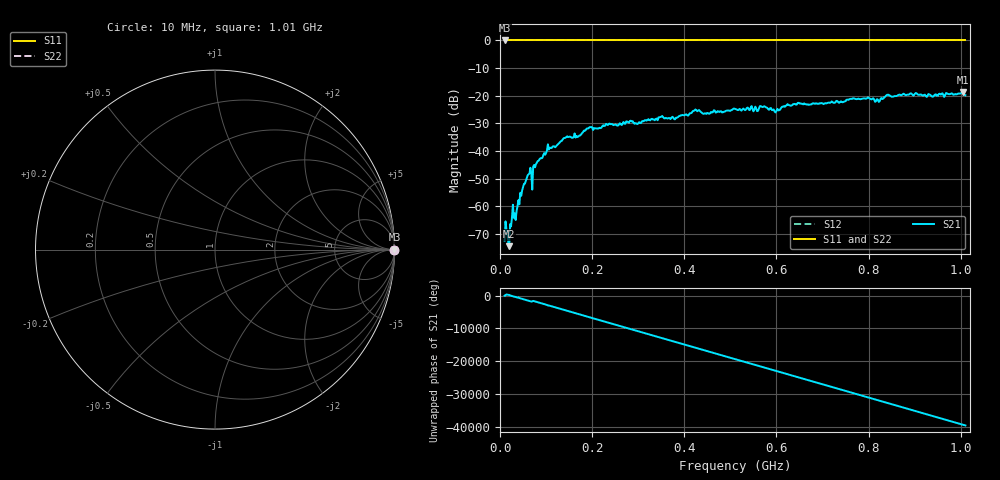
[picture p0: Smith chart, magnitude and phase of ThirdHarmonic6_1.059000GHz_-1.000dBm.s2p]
! 8/16/2025 9:27:58 AM
! C:\ANRITSUVNA\TEMP\TEMP.S2P
! CHANNEL.1
! TR.MEASUREMENT
! RAW.DATA
! RF.CORRECTION.OFF
! AVERAGING.OFF
! IF.BANDWIDTH: 5KHZ
! SWEEPTYPE:  FREQ.SWEEP(Linear)
! Reference Plane Port Info
! PORT:  PORT1  PORT2
! DISTANCE:  0  m  0  m
! TIME:  0  s  0  s
! PHASE.OFFSET:  0  deg.  0  deg.
! LOSS:  0  dB  0  dB
! REF.LOSS:  0  dB  0  dB
! REF.FREQ:  0  Hz  0  Hz
! Power Info
! POWER:  -20  dBm  -20  dBm
! EFF.POWER:  -20  dBm  -20  dBm
! SOURCE.ATTEN:  0  dB  0  dB
! TEST.ATTEN:  0  dB  0  dB
# GHZ S RI R 50.0
! FREQ.GHZ  S11RE  S11IM  S21RE  S21IM  S12RE  S12IM  S22RE  S22IM
!; PortSelection: Port_12
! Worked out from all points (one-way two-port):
!   501 points, 10 MHz to 1.01 GHz, reference 50 ohm
!   highest |S21| = -18.65 dB at 1.004 GHz (marker M1); lowest = -74.4 dB at 20 MHz (marker M2)
!   lowest |S11| = 0.0 dB at 10 MHz (marker M3)
!   |S11| at or under -10 dB: nowhere
!   |S22| runs from 0.0 to 0.0 dB; largest |S21 - S12| = 1.1
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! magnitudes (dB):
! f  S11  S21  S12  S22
! 10 MHz  0.0  -72.3  0.0  0.0
! 20 MHz  0.0  -74.4  0.0  0.0
! 26 MHz  0.0  -63.9  0.0  0.0
! 34 MHz  0.0  -64.9  0.0  0.0
! 48 MHz  0.0  -54.2  0.0  0.0
! 62 MHz  0.0  -48.4  0.0  0.0
! 72 MHz  0.0  -45.6  0.0  0.0
! 76 MHz  0.0  -45.9  0.0  0.0
! 106 MHz  0.0  -39.4  0.0  0.0
! 178 MHz  0.0  -33.5  0.0  0.0
! 196 MHz  0.0  -31.3  0.0  0.0
! 344 MHz  0.0  -27.8  0.0  0.0
! 422 MHz  0.0  -25.3  0.0  0.0
! 510 MHz  0.0  -24.7  0.0  0.0
! 570 MHz  0.0  -24.1  0.0  0.0
! 600 MHz  0.0  -25.5  0.0  0.0
! 624 MHz  0.0  -23.0  0.0  0.0
! 678 MHz  0.0  -22.8  0.0  0.0
! 818 MHz  0.0  -21.2  0.0  0.0
! 844 MHz  0.0  -19.7  0.0  0.0
! 1.004 GHz  0.0  -18.7  0.0  0.0
! 1.01 GHz  0.0  -19.8  0.0  0.0
